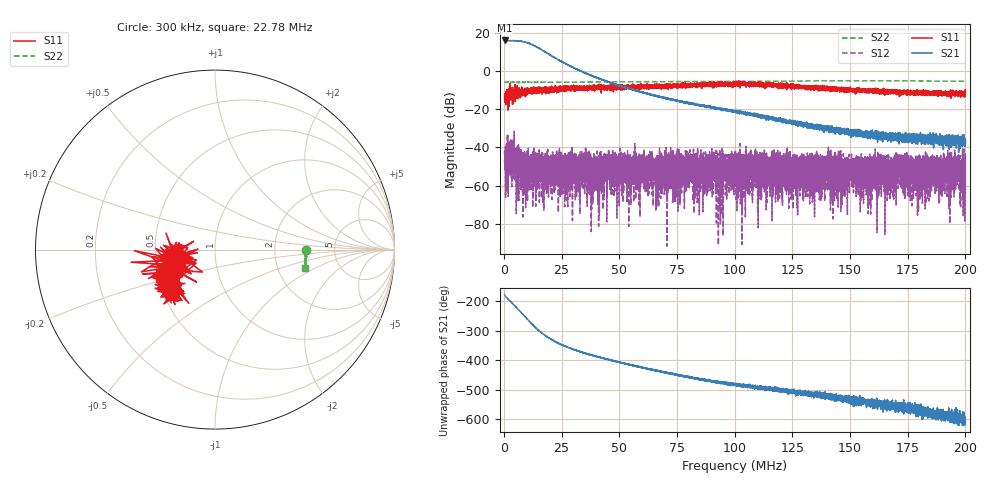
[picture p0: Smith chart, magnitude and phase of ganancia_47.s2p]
# Hz S DB R 50
! CMT, M5065, 19127446, 24.2.4/2
! Date: 11/8/2024 5:20:48 PM
! Data: Format (Calibration Info)
! Freq	S11:dB/Ang(F2)	S21:dB/Ang(F2)	S12:dB/Ang(F2)	S22:dB/Ang(F2)
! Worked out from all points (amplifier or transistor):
!   9000 points, 300 kHz to 200 MHz, reference 50 ohm
!   highest |S21| = 16.0 dB at 388.8 kHz (marker M1)
!   |S21| within 3 dB of that: start of sweep to 13.59 MHz
!   unconditionally stable (mu >= 1): start of sweep to end of sweep
!   at 33.59 MHz: K = 98.49, MAG = 1.7 dB, |S12| = -49.5 dB
!   at 100.2 MHz: K = 918.74, MAG = -18.3 dB, |S12| = -49.6 dB
!   at 200 MHz: K = 40530.55, MAG = -36.0 dB, |S12| = -64.2 dB
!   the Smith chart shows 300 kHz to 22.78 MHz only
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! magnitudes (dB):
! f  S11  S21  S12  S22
! 300 kHz  -12.3  16.0  -41.3  -5.9
! 388.8 kHz  -15.9  16.0  -43.2  -5.9
! 1.41 MHz  -9.6  15.9  -43.3  -5.8
! 9.487 MHz  -10.0  15.1  -48.7  -5.9
! 17.68 MHz  -9.0  10.2  -47.7  -5.8
! 33.59 MHz  -9.1  -0.2  -49.5  -5.8
! 40.42 MHz  -8.8  -3.5  -50.7  -5.7
! 45.66 MHz  -7.5  -5.8  -52.3  -5.7
! 66.87 MHz  -7.5  -13.2  -50.2  -5.5
! 100.2 MHz  -6.3  -21.0  -49.6  -5.4
! 133.4 MHz  -8.2  -28.6  -45.0  -5.2
! 156.8 MHz  -9.4  -32.9  -52.7  -5.1
! 158.9 MHz  -9.5  -32.4  -50.6  -5.1
! 163.5 MHz  -10.4  -34.4  -57.2  -5.1
! 166.7 MHz  -10.9  -34.7  -44.5  -5.1
! 171.5 MHz  -11.2  -36.4  -48.6  -5.1
! 183.4 MHz  -10.8  -36.3  -54.5  -5.2
! 186.3 MHz  -12.8  -34.6  -49.2  -5.2
! 189.5 MHz  -10.4  -34.1  -48.4  -5.3
! 196.3 MHz  -10.8  -34.3  -48.9  -5.3
! 199 MHz  -11.9  -36.1  -62.9  -5.3
! 200 MHz  -9.7  -38.0  -64.2  -5.3
